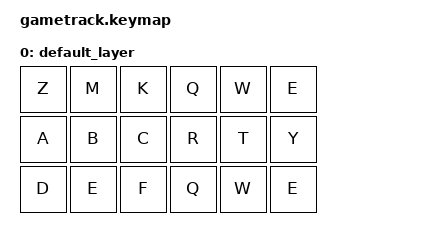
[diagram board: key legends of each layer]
#include <behaviors.dtsi>
#include <dt-bindings/zmk/keys.h>

/ {
    keymap {
        compatible = "zmk,keymap";

        default_layer { // Layer 0
            // -------------------------------------
            // |     Z     |     M     |     K     |
            // |     A     |     B     |     C     |
            // |     D     |     E     |     F     |
            bindings = <
                &kp Z    &kp M    &kp K    &kp Q    &kp W    &kp E
                &kp A    &kp B    &kp C    &kp R    &kp T    &kp Y
                &kp D    &kp E    &kp F    &kp Q    &kp W    &kp E
            >;
        };
    };
 };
